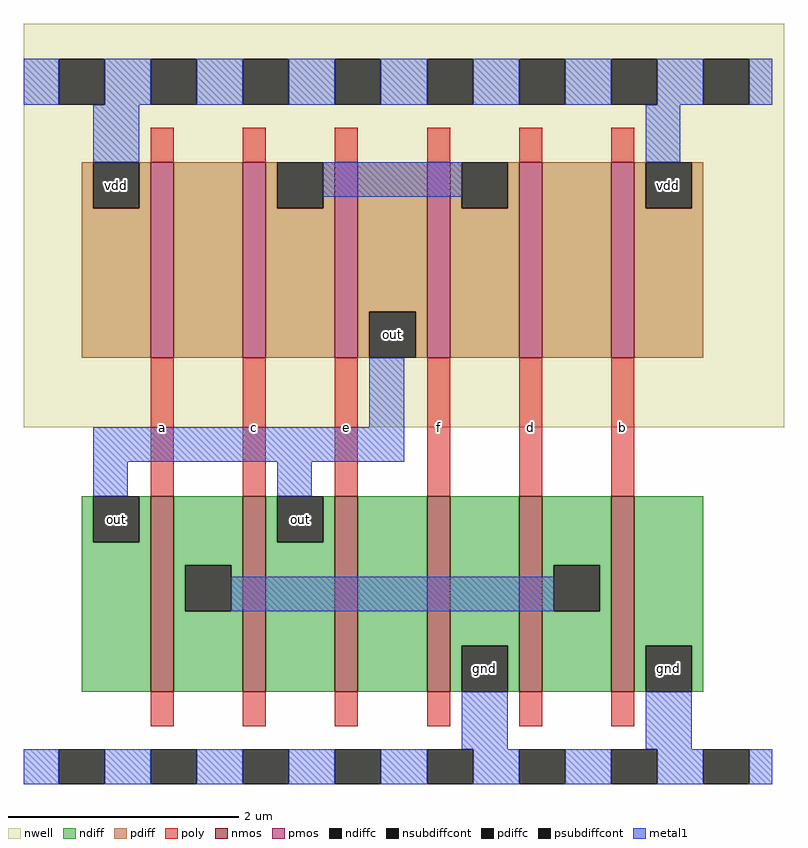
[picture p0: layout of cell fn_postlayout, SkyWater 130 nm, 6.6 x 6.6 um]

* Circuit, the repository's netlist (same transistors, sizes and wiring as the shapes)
* NGSPICE file created from fn_postlayout.ext - technology: sky130A

.subckt fn_postlayout vdd out gnd a c e f d b
X0 a_280_760# a vdd w_20_640# sky130_fd_pr__pfet_01v8 ad=1.02e+12p pd=4.6e+06u as=2.04e+12p ps=9.2e+06u w=1.7e+06u l=200000u
X1 a_760_760# f out w_20_640# sky130_fd_pr__pfet_01v8 ad=1.02e+12p pd=4.6e+06u as=1.02e+12p ps=4.6e+06u w=1.7e+06u l=200000u
X2 a_600_180# e out a_80_20# sky130_fd_pr__nfet_01v8 ad=1.02e+12p pd=4.6e+06u as=2.04e+12p ps=9.2e+06u w=1.7e+06u l=200000u
X3 gnd b a_920_180# a_80_20# sky130_fd_pr__nfet_01v8 ad=2.04e+12p pd=9.2e+06u as=1.02e+12p ps=4.6e+06u w=1.7e+06u l=200000u
X4 a_920_760# d a_760_760# w_20_640# sky130_fd_pr__pfet_01v8 ad=1.02e+12p pd=4.6e+06u as=0p ps=0u w=1.7e+06u l=200000u
X5 a_440_760# c a_280_760# w_20_640# sky130_fd_pr__pfet_01v8 ad=1.02e+12p pd=4.6e+06u as=0p ps=0u w=1.7e+06u l=200000u
X6 a_280_180# a out a_80_20# sky130_fd_pr__nfet_01v8 ad=1.02e+12p pd=4.6e+06u as=0p ps=0u w=1.7e+06u l=200000u
X7 gnd f a_600_180# a_80_20# sky130_fd_pr__nfet_01v8 ad=0p pd=0u as=0p ps=0u w=1.7e+06u l=200000u
X8 out e a_440_760# w_20_640# sky130_fd_pr__pfet_01v8 ad=0p pd=0u as=0p ps=0u w=1.7e+06u l=200000u
X9 a_920_180# d gnd a_80_20# sky130_fd_pr__nfet_01v8 ad=0p pd=0u as=0p ps=0u w=1.7e+06u l=200000u
X10 vdd b a_920_760# w_20_640# sky130_fd_pr__pfet_01v8 ad=0p pd=0u as=0p ps=0u w=1.7e+06u l=200000u
X11 out c a_280_180# a_80_20# sky130_fd_pr__nfet_01v8 ad=0p pd=0u as=0p ps=0u w=1.7e+06u l=200000u
.ends

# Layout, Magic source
magic
tech sky130A
<< nwell >>
rect 10 320 670 670
<< nmos >>
rect 120 90 140 260
rect 200 90 220 260
rect 280 90 300 260
rect 360 90 380 260
rect 440 90 460 260
rect 520 90 540 260
<< pmos >>
rect 120 380 140 550
rect 200 380 220 550
rect 280 380 300 550
rect 360 380 380 550
rect 440 380 460 550
rect 520 380 540 550
<< ndiff >>
rect 60 220 70 260
rect 110 220 120 260
rect 60 90 120 220
rect 140 200 200 260
rect 140 160 150 200
rect 190 160 200 200
rect 140 90 200 160
rect 220 220 230 260
rect 270 220 280 260
rect 220 90 280 220
rect 300 90 360 260
rect 380 130 440 260
rect 380 90 390 130
rect 430 90 440 130
rect 460 200 520 260
rect 460 160 470 200
rect 510 160 520 200
rect 460 90 520 160
rect 540 130 600 260
rect 540 90 550 130
rect 590 90 600 130
<< pdiff >>
rect 60 510 70 550
rect 110 510 120 550
rect 60 380 120 510
rect 140 380 200 550
rect 220 510 230 550
rect 270 510 280 550
rect 220 380 280 510
rect 300 420 360 550
rect 300 380 310 420
rect 350 380 360 420
rect 380 510 390 550
rect 430 510 440 550
rect 380 380 440 510
rect 460 380 520 550
rect 540 510 550 550
rect 590 510 600 550
rect 540 380 600 510
<< ndiffc >>
rect 70 220 110 260
rect 150 160 190 200
rect 230 220 270 260
rect 390 90 430 130
rect 470 160 510 200
rect 550 90 590 130
<< pdiffc >>
rect 70 510 110 550
rect 230 510 270 550
rect 310 380 350 420
rect 390 510 430 550
rect 550 510 590 550
<< psubdiffcont >>
rect 40 10 80 40
rect 120 10 160 40
rect 200 10 240 40
rect 280 10 320 40
rect 360 10 400 40
rect 440 10 480 40
rect 520 10 560 40
rect 600 10 640 40
<< nsubdiffcont >>
rect 40 600 80 640
rect 120 600 160 640
rect 200 600 240 640
rect 280 600 320 640
rect 360 600 400 640
rect 440 600 480 640
rect 520 600 560 640
rect 600 600 640 640
<< poly >>
rect 120 550 140 580
rect 200 550 220 580
rect 280 550 300 580
rect 360 550 380 580
rect 440 550 460 580
rect 520 550 540 580
rect 120 260 140 380
rect 200 260 220 380
rect 280 260 300 380
rect 360 260 380 380
rect 440 260 460 380
rect 520 260 540 380
rect 120 60 140 90
rect 200 60 220 90
rect 280 60 300 90
rect 360 60 380 90
rect 440 60 460 90
rect 520 60 540 90
<< metal1 >>
rect 10 600 40 640
rect 80 600 120 640
rect 160 600 200 640
rect 240 600 280 640
rect 320 600 360 640
rect 400 600 440 640
rect 480 600 520 640
rect 560 600 600 640
rect 640 600 660 640
rect 70 550 110 600
rect 550 550 580 600
rect 270 520 390 550
rect 310 320 340 380
rect 70 290 340 320
rect 70 260 100 290
rect 230 260 260 290
rect 190 160 470 190
rect 390 40 430 90
rect 550 40 590 90
rect 10 10 40 40
rect 80 10 120 40
rect 160 10 200 40
rect 240 10 280 40
rect 320 10 360 40
rect 400 10 440 40
rect 480 10 520 40
rect 560 10 600 40
rect 640 10 660 40
<< labels >>
rlabel pdiffc 550 510 590 550 1 vdd
port 1 n
rlabel pdiffc 70 510 110 550 1 vdd
rlabel ndiffc 550 90 590 130 1 gnd
port 3 n
rlabel ndiffc 390 90 430 130 1 gnd
rlabel pdiffc 310 380 350 420 1 out
rlabel ndiffc 230 220 270 260 1 out
rlabel ndiffc 70 220 110 260 1 out
port 2 n
rlabel poly 120 260 140 380 1 a
port 4 n
rlabel poly 520 260 540 380 1 b
port 9 n
rlabel poly 200 260 220 380 1 c
port 5 n
rlabel poly 440 260 460 380 1 d
port 8 n
rlabel poly 280 260 300 380 1 e
port 6 n
rlabel poly 360 260 380 380 1 f
port 7 n
<< end >>
